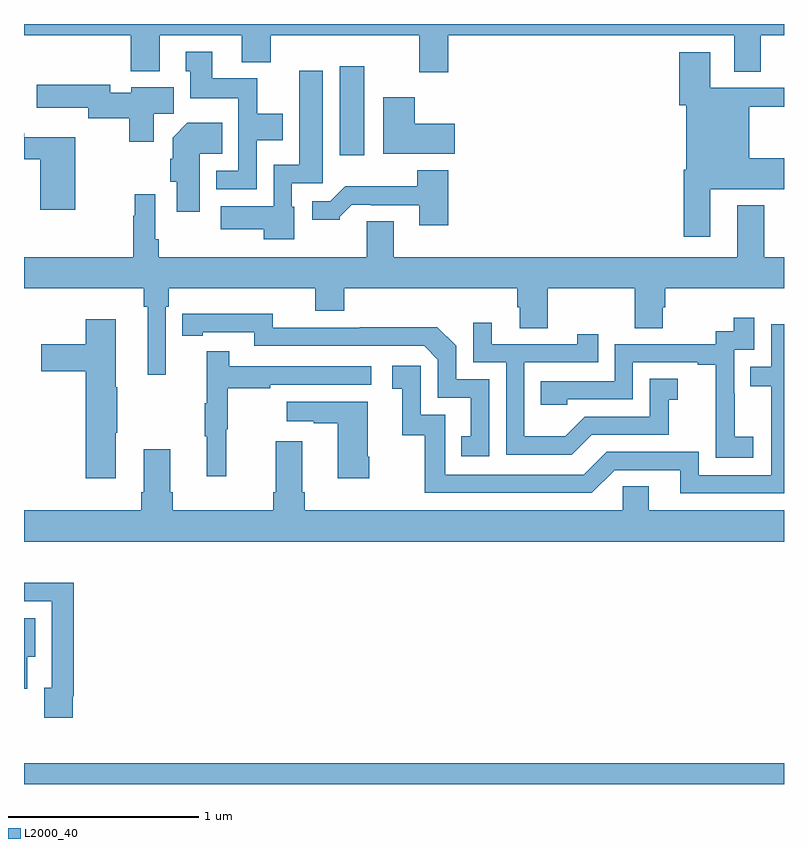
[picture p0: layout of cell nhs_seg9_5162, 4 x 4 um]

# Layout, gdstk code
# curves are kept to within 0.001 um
import gdstk
lib = gdstk.Library(unit=1e-6, precision=1e-09)
def R(c, l, rs):  # rectangles x0, y0, x1, y1
    for r in rs: c.add(gdstk.rectangle(r[:2], r[2:], *l))
def P(c, l, *ps):  # polygons
    for p in ps: c.add(gdstk.Polygon(p, *l))
L2000_40 = (2000, 40)

nhs_seg9_5162 = lib.new_cell('nhs_seg9_5162')
R(nhs_seg9_5162, L2000_40, [(411,1172.5,415,1172.608), (412.661,1175.808,412.792,1176.277)])
P(nhs_seg9_5162, L2000_40, [(413.234,1176.44),(414.737,1176.44),(414.737,1176.25),(414.877,1176.25),(414.877,1176.44),(415,1176.44),(415,1176.5),(411,1176.5),(411,1176.44),(411.563,1176.44),(411.563,1176.251),(411.715,1176.251),(411.715,1176.44),(412.145,1176.44),(412.145,1176.299),(412.298,1176.299),(412.298,1176.44),(413.081,1176.44),(413.081,1176.246),(413.234,1176.246)],
  [(412.224,1175.888),(412.363,1175.888),(412.363,1176.028),(412.227,1176.028),(412.227,1176.214),(411.991,1176.214),(411.991,1176.355),(411.851,1176.355),(411.851,1176.252),(411.875,1176.252),(411.875,1176.11),(412.128,1176.11),(412.128,1175.727),(412.011,1175.727),(412.011,1175.631),(412.224,1175.631)],
  [(414.613,1175.63),(415,1175.63),(415,1175.794),(414.817,1175.794),(414.817,1176.064),(415,1176.064),(415,1176.165),(414.613,1176.165),(414.613,1176.352),(414.449,1176.352),(414.449,1176.072),(414.485,1176.072),(414.485,1175.734),(414.473,1175.734),(414.473,1175.379),(414.613,1175.379)],
  [(412.423,1175.538),(412.41,1175.538),(412.41,1175.661),(412.573,1175.661),(412.573,1176.253),(412.448,1176.253),(412.448,1175.758),(412.314,1175.758),(412.314,1175.542),(412.035,1175.542),(412.035,1175.42),(412.262,1175.42),(412.262,1175.366),(412.423,1175.366)],
  [(411.682,1176.028),(411.787,1176.028),(411.787,1176.166),(411.564,1176.166),(411.564,1176.139),(411.454,1176.139),(411.454,1176.181),(411.066,1176.181),(411.066,1176.059),(411.338,1176.059),(411.338,1176.005),(411.553,1176.005),(411.553,1175.88),(411.682,1175.88)],
  [(413.266,1175.974),(413.056,1175.974),(413.056,1176.115),(412.892,1176.115),(412.892,1175.816),(413.266,1175.816)],
  [(411.925,1175.816),(412.043,1175.816),(412.043,1175.98),(411.86,1175.98),(411.782,1175.902),(411.782,1175.792),(411.77,1175.792),(411.77,1175.67),(411.803,1175.67),(411.803,1175.511),(411.925,1175.511)],
  [(411.269,1175.905),(411.002,1175.905),(411.002,1175.924),(411,1175.924),(411,1175.788),(411.086,1175.788),(411.086,1175.523),(411.269,1175.523)],
  [(413.234,1175.731),(413.069,1175.731),(413.069,1175.647),(412.69,1175.647),(412.611,1175.568),(412.518,1175.568),(412.518,1175.471),(412.662,1175.471),(412.662,1175.486),(412.726,1175.55),(412.825,1175.55),(412.825,1175.547),(413.081,1175.547),(413.081,1175.442),(413.234,1175.442)],
  [(411.582,1175.605),(411.582,1175.492),(411.574,1175.492),(411.574,1175.272),(411,1175.272),(411,1175.108),(411.631,1175.108),(411.631,1175.012),(411.65,1175.012),(411.65,1174.653),(411.747,1174.653),(411.747,1175.012),(411.761,1175.012),(411.761,1175.108),(412.532,1175.108),(412.532,1174.991),(412.685,1174.991),(412.685,1175.108),(413.597,1175.108),(413.597,1175.01),(413.609,1175.01),(413.609,1174.9),(413.757,1174.9),(413.757,1175.108),(414.214,1175.108),(414.214,1174.9),(414.361,1174.9),(414.361,1175.01),(414.374,1175.01),(414.374,1175.108),(415,1175.108),(415,1175.272),(414.895,1175.272),(414.895,1175.545),(414.755,1175.545),(414.755,1175.272),(412.945,1175.272),(412.945,1175.462),(412.805,1175.462),(412.805,1175.272),(411.71,1175.272),(411.71,1175.368),(411.69,1175.368),(411.69,1175.605)],
  [(413.448,1174.629),(413.274,1174.629),(413.274,1174.806),(413.176,1174.904),(412.768,1174.904),(412.768,1174.902),(412.308,1174.902),(412.308,1174.975),(411.832,1174.974),(411.832,1174.858),(411.94,1174.858),(411.94,1174.878),(412.212,1174.878),(412.212,1174.806),(413.106,1174.806),(413.178,1174.734),(413.178,1174.533),(413.351,1174.533),(413.351,1174.329),(413.302,1174.329),(413.302,1174.224),(413.448,1174.224)],
  [(414.838,1174.327),(414.74,1174.327),(414.74,1174.556),(414.738,1174.556),(414.738,1174.785),(414.843,1174.785),(414.843,1174.954),(414.735,1174.954),(414.735,1174.884),(414.642,1174.884),(414.642,1174.815),(414.108,1174.815),(414.108,1174.62),(413.719,1174.62),(413.719,1174.497),(413.859,1174.497),(413.859,1174.524),(414.204,1174.524),(414.204,1174.719),(414.545,1174.719),(414.545,1174.707),(414.641,1174.707),(414.641,1174.423),(414.64,1174.423),(414.64,1174.217),(414.838,1174.217)],
  [(411.484,1174.348),(411.492,1174.348),(411.492,1174.589),(411.484,1174.589),(411.484,1174.945),(411.326,1174.945),(411.326,1174.815),(411.09,1174.815),(411.09,1174.673),(411.326,1174.673),(411.326,1174.11),(411.484,1174.11)],
  [(413.989,1174.338),(414.393,1174.338),(414.393,1174.523),(414.442,1174.523),(414.442,1174.633),(414.294,1174.633),(414.294,1174.434),(413.952,1174.434),(413.848,1174.33),(413.634,1174.33),(413.634,1174.719),(414.023,1174.719),(414.023,1174.867),(413.912,1174.867),(413.912,1174.815),(413.461,1174.815),(413.461,1174.927),(413.364,1174.927),(413.364,1174.719),(413.538,1174.719),(413.538,1174.233),(413.884,1174.233)],
  [(415,1174.92),(414.933,1174.92),(414.933,1174.695),(414.823,1174.695),(414.823,1174.594),(414.933,1174.594),(414.933,1174.125),(414.552,1174.125),(414.552,1174.248),(414.066,1174.248),(413.946,1174.128),(413.217,1174.128),(413.217,1174.443),(413.088,1174.443),(413.088,1174.702),(412.938,1174.702),(412.938,1174.581),(412.991,1174.581),(412.991,1174.335),(413.109,1174.335),(413.109,1174.032),(413.988,1174.032),(414.108,1174.152),(414.455,1174.152),(414.455,1174.029),(415,1174.029)],
  [(412.064,1174.368),(412.072,1174.368),(412.072,1174.582),(412.295,1174.582),(412.295,1174.602),(412.828,1174.602),(412.828,1174.698),(412.079,1174.698),(412.079,1174.777),(411.962,1174.777),(411.962,1174.505),(411.951,1174.505),(411.951,1174.331),(411.962,1174.331),(411.962,1174.119),(412.064,1174.119)],
  [(412.818,1174.222),(412.81,1174.222),(412.81,1174.513),(412.383,1174.513),(412.383,1174.409),(412.526,1174.409),(412.526,1174.399),(412.652,1174.399),(412.652,1174.11),(412.818,1174.11)],
  [(415,1173.94),(414.289,1173.94),(414.289,1174.067),(414.15,1174.067),(414.15,1173.94),(412.478,1173.94),(412.478,1174.036),(412.465,1174.036),(412.465,1174.303),(412.325,1174.303),(412.325,1174.036),(412.313,1174.036),(412.313,1173.94),(411.782,1173.94),(411.782,1174.036),(411.769,1174.036),(411.769,1174.261),(411.629,1174.261),(411.629,1174.036),(411.617,1174.036),(411.617,1173.94),(411,1173.94),(411,1173.776),(415,1173.776)],
  [(411.256,1172.962),(411.263,1172.962),(411.263,1173.56),(411,1173.56),(411,1173.462),(411.147,1173.462),(411.147,1173.006),(411.107,1173.006),(411.107,1172.85),(411.256,1172.85)],
  [(411.016,1173.17),(411.058,1173.17),(411.058,1173.373),(411,1173.373),(411,1173.002),(411.016,1173.002)])

lib.write_gds('nhs_seg9_5162.gds')
